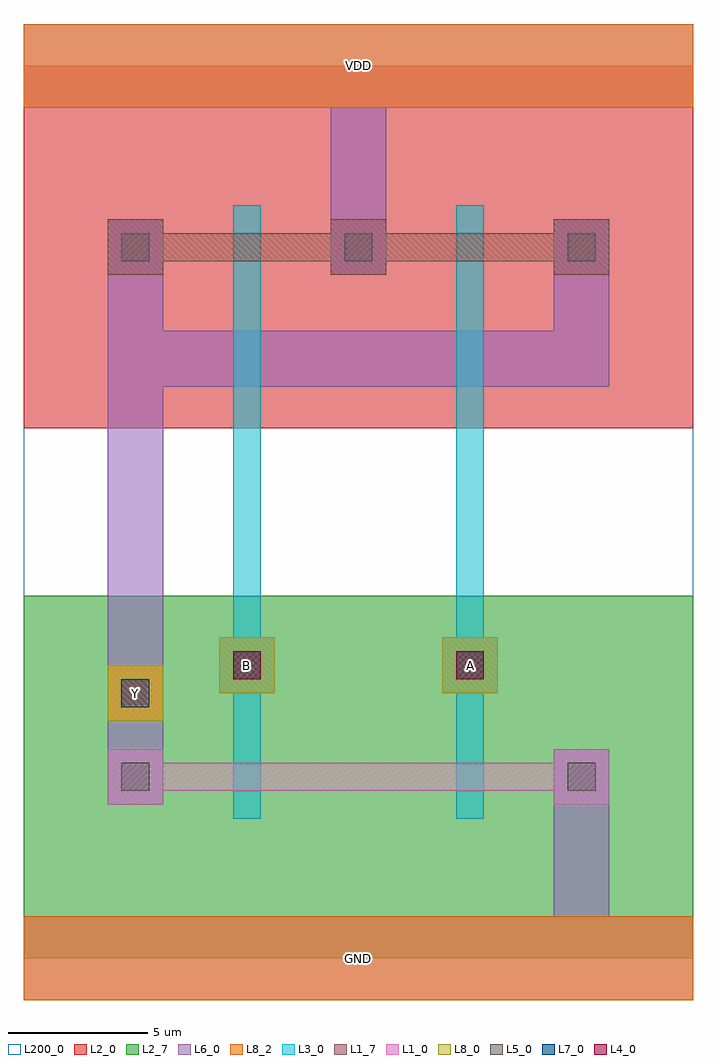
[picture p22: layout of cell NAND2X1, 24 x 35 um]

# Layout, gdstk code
import gdstk
lib = gdstk.Library(unit=1e-6, precision=1e-09)
def R(c, l, rs):  # rectangles x0, y0, x1, y1
    for r in rs: c.add(gdstk.rectangle(r[:2], r[2:], *l))
def A(c, l, x, y, w, h, nx, ny, dx, dy):  # array of equal rectangles
    R(c, l, [(x+i*dx, y+j*dy, x+i*dx+w, y+j*dy+h) for i in range(nx) for j in range(ny)])
def P(c, l, *ps):  # polygons
    for p in ps: c.add(gdstk.Polygon(p, *l))
L1_0 = (1, 0)
L1_7 = (1, 7)
L2_0 = (2, 0)
L2_7 = (2, 7)
L3_0 = (3, 0)
L4_0 = (4, 0)
L5_0 = (5, 0)
L6_0 = (6, 0)
L7_0 = (7, 0)
L8_0 = (8, 0)
L8_2 = (8, 2)
L200_0 = (200, 0)

nand2x1 = lib.new_cell('NAND2X1')
P(nand2x1, L1_0, [(3,5.5),(3,7.5),(5,7.5),(5,7),(19,7),(19,7.5),(21,7.5),(21,5.5),(19,5.5),(19,6),(5,6),(5,5.5)])
P(nand2x1, L1_7, [(3,24.5),(3,26.5),(5,26.5),(5,26),(11,26),(11,26.5),(13,26.5),(13,26),(19,26),(19,26.5),(21,26.5),(21,24.5),(19,24.5),(19,25),(13,25),(13,24.5),(11,24.5),(11,25),(5,25),(5,24.5)])
R(nand2x1, L2_0, [(0,19,24,32)])
R(nand2x1, L2_7, [(0,0,24,13)])
P(nand2x1, L3_0, [(7.5,5),(7.5,9.5),(7,9.5),(7,11.5),(7.5,11.5),(7.5,27),(8.5,27),(8.5,11.5),(9,11.5),(9,9.5),(8.5,9.5),(8.5,5)],
  [(15.5,5),(15.5,9.5),(15,9.5),(15,11.5),(15.5,11.5),(15.5,27),(16.5,27),(16.5,11.5),(17,11.5),(17,9.5),(16.5,9.5),(16.5,5)])
R(nand2x1, L4_0, [(7.5,10,8.5,11), (15.5,10,16.5,11)])
A(nand2x1, L5_0, 3.5, 25, 1, 1, 3, 1, 8, 0)
R(nand2x1, L5_0, [(3.5,6,4.5,7), (19.5,6,20.5,7)])
R(nand2x1, L6_0, [(7,9.5,9,11.5), (15,9.5,17,11.5)])
P(nand2x1, L6_0, [(0,-1.5),(0,1.5),(19,1.5),(19,7.5),(21,7.5),(21,1.5),(24,1.5),(24,-1.5)],
  [(3,5.5),(3,26.5),(5,26.5),(5,22.5),(19,22.5),(19,26.5),(21,26.5),(21,20.5),(5,20.5),(5,5.5)],
  [(11,24.5),(11,30.5),(0,30.5),(0,33.5),(24,33.5),(24,30.5),(13,30.5),(13,24.5)])
R(nand2x1, L7_0, [(3.5,9,4.5,10), (7.5,10,8.5,11), (15.5,10,16.5,11)])
R(nand2x1, L8_0, [(3,8.5,5,10.5), (7,9.5,9,11.5), (15,9.5,17,11.5)])
R(nand2x1, L8_2, [(3,8.5,5,10.5), (7,9.5,9,11.5), (15,9.5,17,11.5)])
R(nand2x1, L200_0, [(0,0,24,32)])
nand2x1.add(gdstk.FlexPath([(0,32),(24,32)], 3, ends="flush", simple_path=True, layer=8, datatype=2))  # L8_2
nand2x1.add(gdstk.FlexPath([(0,0),(24,0)], 3, ends="flush", simple_path=True, layer=8, datatype=2))  # L8_2
nand2x1.add(gdstk.Label('GND', (12,0), layer=6, texttype=1))
nand2x1.add(gdstk.Label('VDD', (12,32), layer=6, texttype=1))
nand2x1.add(gdstk.Label('B', (8,10.5), layer=8, texttype=1))
nand2x1.add(gdstk.Label('A', (16,10.5), layer=8, texttype=1))
nand2x1.add(gdstk.Label('Y', (4,9.5), layer=8, texttype=1))

lib.write_gds('NAND2X1.gds')
